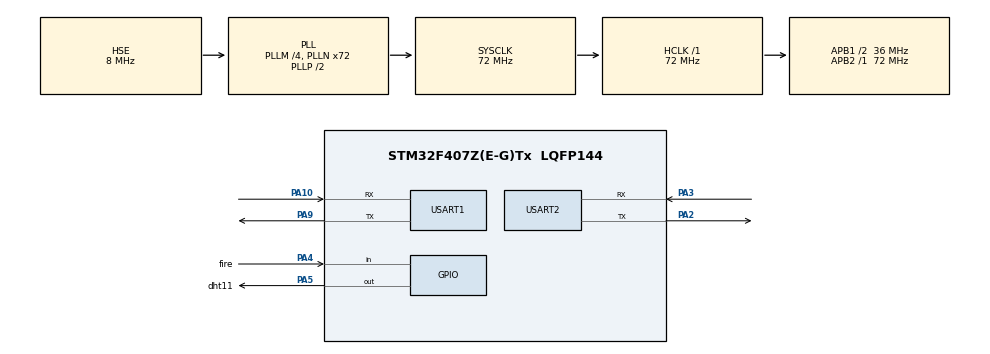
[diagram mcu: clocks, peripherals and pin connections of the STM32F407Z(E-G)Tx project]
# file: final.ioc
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Mcu.Family=STM32F4
Mcu.Name=STM32F407Z(E-G)Tx
Mcu.Package=LQFP144
NVIC.PriorityGroup=NVIC_PRIORITYGROUP_4
NVIC.RCC_IRQn=true\:0\:0\:false\:false\:true\:true\:false\:true
NVIC.USART1_IRQn=true\:0\:0\:false\:false\:true\:true\:true\:true
NVIC.USART2_IRQn=true\:0\:0\:false\:false\:true\:true\:true\:true
PA10.Mode=Asynchronous
PA10.Signal=USART1_RX
PA13.Mode=Serial_Wire
PA13.Signal=SYS_JTMS-SWDIO
PA14.Mode=Serial_Wire
PA14.Signal=SYS_JTCK-SWCLK
PA2.Mode=Asynchronous
PA2.Signal=USART2_TX
PA3.Mode=Asynchronous
PA3.Signal=USART2_RX
PA4.GPIO_Label=fire
PA4.Signal=GPIO_Input
PA5.GPIO_Label=dht11
PA5.Signal=GPIO_Output
PA9.Mode=Asynchronous
PA9.Signal=USART1_TX
PH0-OSC_IN.Mode=HSE-External-Oscillator
PH0-OSC_IN.Signal=RCC_OSC_IN
PH1-OSC_OUT.Mode=HSE-External-Oscillator
PH1-OSC_OUT.Signal=RCC_OSC_OUT
ProjectManager.HeapSize=0x200
ProjectManager.StackSize=0x400
ProjectManager.TargetToolchain=MDK-ARM V5
RCC.48MHZClocksFreq_Value=36000000
RCC.AHBFreq_Value=72000000
RCC.APB1CLKDivider=RCC_HCLK_DIV2
RCC.APB1Freq_Value=36000000
RCC.APB1TimFreq_Value=72000000
RCC.APB2Freq_Value=72000000
RCC.APB2TimFreq_Value=72000000
RCC.CortexFreq_Value=72000000
RCC.HCLKFreq_Value=72000000
RCC.HSE_VALUE=8000000
RCC.HSI_VALUE=16000000
RCC.LSE_VALUE=32768
RCC.PLLM=4
RCC.PLLN=72
RCC.PLLSourceVirtual=RCC_PLLSOURCE_HSE
RCC.SYSCLKFreq_VALUE=72000000
RCC.SYSCLKSource=RCC_SYSCLKSOURCE_PLLCLK
RCC.VCOOutputFreq_Value=144000000
USART1.VirtualMode=VM_ASYNC
USART2.VirtualMode=VM_ASYNC
board=custom

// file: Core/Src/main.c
/* USER CODE BEGIN Header */
/**
  ******************************************************************************
  * @file           : main.c
  * @brief          : Main program body
  ******************************************************************************
  * @attention
  *
  * Copyright (c) 2025 STMicroelectronics.
  * All rights reserved.
  *
  * This software is licensed under terms that can be found in the LICENSE file
  * in the root directory of this software component.
  * If no LICENSE file comes with this software, it is provided AS-IS.
  *
  ******************************************************************************
  */
/* USER CODE END Header */
#include "main.h"
#include "usart.h"
#include "gpio.h"
#include <stdio.h>
#include <string.h>
#include "sensor.h"

/* USER CODE BEGIN PV */
uint8_t fire_detected = 0;           // 火光检测标志，0=未检测到，1=检测到
GPIO_PinState fire_sensor_state;     // 火光传感器状态
char debug_msg[64];                  // 调试信息缓冲区
uint8_t uart2_rx_buffer[1];          // 串口2接收缓冲区
uint8_t help_count = 0;              // 需要救援的人数
/* USER CODE END PV */

void SystemClock_Config(void);

/* USER CODE BEGIN 0 */

// 串口2接收回调函数
void HAL_UART_RxCpltCallback(UART_HandleTypeDef *huart)
{
    if(huart->Instance == USART2)
    {
        // 检查接收到的字符是否在1-9之间
        if(uart2_rx_buffer[0] >= '1' && uart2_rx_buffer[0] <= '9')
        {
            // 将ASCII字符转换为数字
            help_count = uart2_rx_buffer[0] - '0';
        }

        // 重新启动接收
        HAL_UART_Receive_IT(&huart2, uart2_rx_buffer, 1);
    }
}

/* USER CODE END 0 */

int main(void)
{

  /* MCU Configuration--------------------------------------------------------*/

  /* Reset of all peripherals, Initializes the Flash interface and the Systick. */
  HAL_Init();

  /* Configure the system clock */
  SystemClock_Config();

  /* Initialize all configured peripherals */
  MX_GPIO_Init();
  MX_USART1_UART_Init();
  MX_USART2_UART_Init();
  /* USER CODE BEGIN 2 */

  // 简单延时确保系统稳定
  HAL_Delay(500);

  // 初始化传感器模块
  Sensor_Init();

  // 读取初始火光传感器状态
  fire_sensor_state = HAL_GPIO_ReadPin(FIRE_SENSOR_GPIO_Port, FIRE_SENSOR_Pin);
  fire_detected = (fire_sensor_state == GPIO_PIN_RESET) ? 1 : 0;

  // 启动串口2中断接收
  HAL_UART_Receive_IT(&huart2, uart2_rx_buffer, 1);

  /* USER CODE END 2 */

  /* Infinite loop */
  while (1)
  {

    /* USER CODE BEGIN 3 */
    // 读取火光传感器状态
    fire_sensor_state = HAL_GPIO_ReadPin(FIRE_SENSOR_GPIO_Port, FIRE_SENSOR_Pin);
    uint8_t current_fire_state = (fire_sensor_state == GPIO_PIN_RESET) ? 1 : 0;

    // 更新火光检测状态
    fire_detected = current_fire_state;

    // 每2秒发送一次完整的传感器数据
    static uint32_t last_send_time = 0;
    if (HAL_GetTick() - last_send_time >= 2000)
    {
      last_send_time = HAL_GetTick();

      // 发送火光状态
      sprintf(debug_msg, "fire:%d\r\n", fire_detected);
      HAL_UART_Transmit(&huart1, (uint8_t*)debug_msg, strlen(debug_msg), 100);

      // 读取并发送DHT11温湿度数据
      Sensor_Get_All_Data();

      // 发送救援人数
      sprintf(debug_msg, "help:%d\r\n", help_count);
      HAL_UART_Transmit(&huart1, (uint8_t*)debug_msg, strlen(debug_msg), 100);
    }

    // 短暂延时，降低CPU负载
    HAL_Delay(100);
  }
  /* USER CODE END 3 */
}

void SystemClock_Config(void)
{
  RCC_OscInitTypeDef RCC_OscInitStruct = {0};
  RCC_ClkInitTypeDef RCC_ClkInitStruct = {0};

  /** Configure the main internal regulator output voltage
  */
  __HAL_RCC_PWR_CLK_ENABLE();
  __HAL_PWR_VOLTAGESCALING_CONFIG(PWR_REGULATOR_VOLTAGE_SCALE1);

  /** Initializes the RCC Oscillators according to the specified parameters
  * in the RCC_OscInitTypeDef structure.
  */
  RCC_OscInitStruct.OscillatorType = RCC_OSCILLATORTYPE_HSE;
  RCC_OscInitStruct.HSEState = RCC_HSE_ON;
  RCC_OscInitStruct.PLL.PLLState = RCC_PLL_ON;
  RCC_OscInitStruct.PLL.PLLSource = RCC_PLLSOURCE_HSE;
  RCC_OscInitStruct.PLL.PLLM = 4;
  RCC_OscInitStruct.PLL.PLLN = 72;
  RCC_OscInitStruct.PLL.PLLP = RCC_PLLP_DIV2;
  RCC_OscInitStruct.PLL.PLLQ = 4;
  if (HAL_RCC_OscConfig(&RCC_OscInitStruct) != HAL_OK)
  {
    Error_Handler();
  }

  /** Initializes the CPU, AHB and APB buses clocks
  */
  RCC_ClkInitStruct.ClockType = RCC_CLOCKTYPE_HCLK|RCC_CLOCKTYPE_SYSCLK
                              |RCC_CLOCKTYPE_PCLK1|RCC_CLOCKTYPE_PCLK2;
  RCC_ClkInitStruct.SYSCLKSource = RCC_SYSCLKSOURCE_PLLCLK;
  RCC_ClkInitStruct.AHBCLKDivider = RCC_SYSCLK_DIV1;
  RCC_ClkInitStruct.APB1CLKDivider = RCC_HCLK_DIV2;
  RCC_ClkInitStruct.APB2CLKDivider = RCC_HCLK_DIV1;

  if (HAL_RCC_ClockConfig(&RCC_ClkInitStruct, FLASH_LATENCY_2) != HAL_OK)
  {
    Error_Handler();
  }
}

void Error_Handler(void)
{
  __disable_irq();
  while (1)
  {
  }
}
